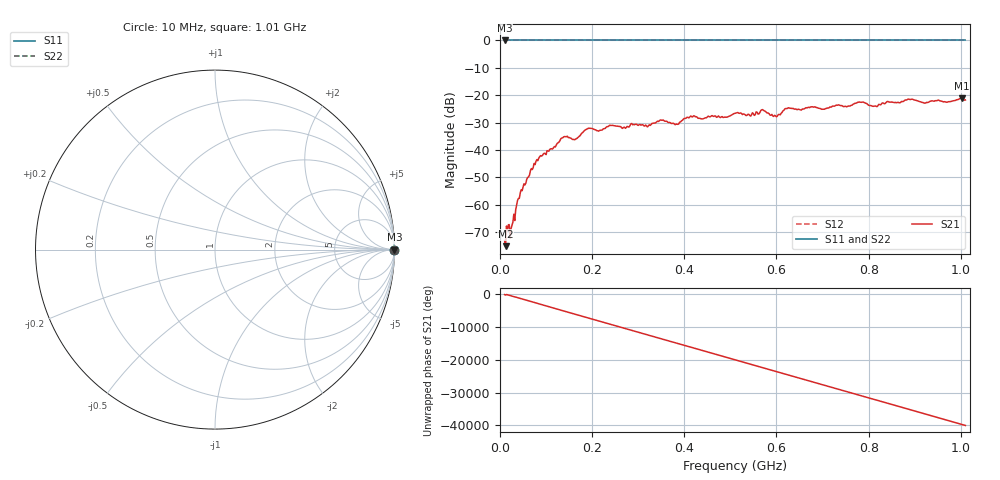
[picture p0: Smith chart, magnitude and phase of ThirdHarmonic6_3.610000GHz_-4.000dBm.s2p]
! 8/17/2025 12:03:23 PM
! C:\ANRITSUVNA\TEMP\TEMP.S2P
! CHANNEL.1
! TR.MEASUREMENT
! RAW.DATA
! RF.CORRECTION.OFF
! AVERAGING.OFF
! IF.BANDWIDTH: 5KHZ
! SWEEPTYPE:  FREQ.SWEEP(Linear)
! Reference Plane Port Info
! PORT:  PORT1  PORT2
! DISTANCE:  0  m  0  m
! TIME:  0  s  0  s
! PHASE.OFFSET:  0  deg.  0  deg.
! LOSS:  0  dB  0  dB
! REF.LOSS:  0  dB  0  dB
! REF.FREQ:  0  Hz  0  Hz
! Power Info
! POWER:  -20  dBm  -20  dBm
! EFF.POWER:  -20  dBm  -20  dBm
! SOURCE.ATTEN:  0  dB  0  dB
! TEST.ATTEN:  0  dB  0  dB
# GHZ S RI R 50.0
! FREQ.GHZ  S11RE  S11IM  S21RE  S21IM  S12RE  S12IM  S22RE  S22IM
!; PortSelection: Port_12
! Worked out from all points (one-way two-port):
!   501 points, 10 MHz to 1.01 GHz, reference 50 ohm
!   highest |S21| = -21.16 dB at 1.002 GHz (marker M1); lowest = -75.2 dB at 12 MHz (marker M2)
!   lowest |S11| = 0.0 dB at 10 MHz (marker M3)
!   |S11| at or under -10 dB: nowhere
!   |S22| runs from 0.0 to 0.0 dB; largest |S21 - S12| = 1.1
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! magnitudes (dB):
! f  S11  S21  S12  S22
! 10 MHz  0.0  -73.2  0.0  0.0
! 12 MHz  0.0  -75.2  0.0  0.0
! 26 MHz  0.0  -67.5  0.0  0.0
! 48 MHz  0.0  -54.9  0.0  0.0
! 82 MHz  0.0  -44.0  0.0  0.0
! 136 MHz  0.0  -35.6  0.0  0.0
! 162 MHz  0.0  -36.3  0.0  0.0
! 178 MHz  0.0  -33.8  0.0  0.0
! 192 MHz  0.0  -32.1  0.0  0.0
! 322 MHz  0.0  -31.2  0.0  0.0
! 344 MHz  0.0  -29.6  0.0  0.0
! 384 MHz  0.0  -30.6  0.0  0.0
! 418 MHz  0.0  -28.0  0.0  0.0
! 510 MHz  0.0  -26.6  0.0  0.0
! 570 MHz  0.0  -25.3  0.0  0.0
! 598 MHz  0.0  -27.6  0.0  0.0
! 622 MHz  0.0  -24.9  0.0  0.0
! 678 MHz  0.0  -24.2  0.0  0.0
! 814 MHz  0.0  -24.0  0.0  0.0
! 844 MHz  0.0  -22.5  0.0  0.0
! 1.002 GHz  0.0  -21.2  0.0  0.0
! 1.01 GHz  0.0  -21.8  0.0  0.0
